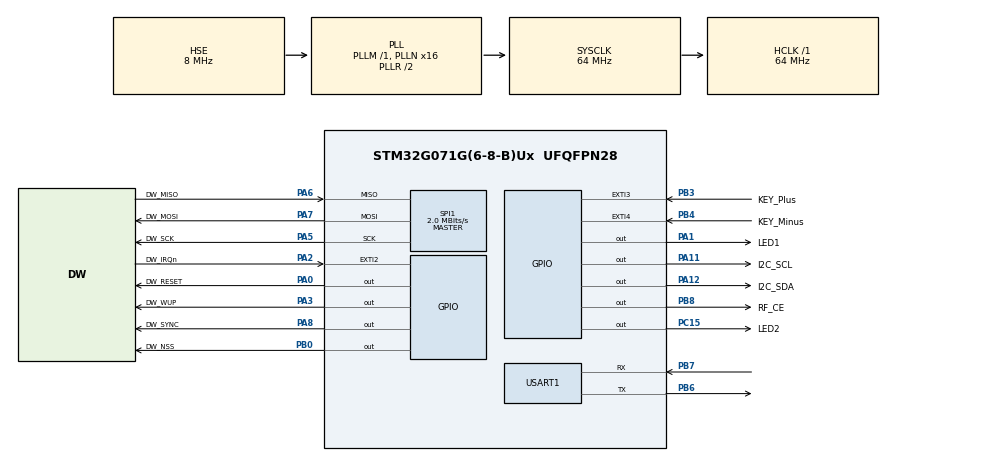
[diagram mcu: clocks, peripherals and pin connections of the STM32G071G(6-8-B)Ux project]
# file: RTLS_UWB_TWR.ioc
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Dma.Request0=USART1_RX
Dma.Request1=USART1_TX
Dma.USART1_RX.0.Direction=DMA_PERIPH_TO_MEMORY
Dma.USART1_RX.0.EventEnable=DISABLE
Dma.USART1_RX.0.Instance=DMA1_Channel6
Dma.USART1_RX.0.MemDataAlignment=DMA_MDATAALIGN_BYTE
Dma.USART1_RX.0.MemInc=DMA_MINC_ENABLE
Dma.USART1_RX.0.Mode=DMA_CIRCULAR
Dma.USART1_RX.0.PeriphDataAlignment=DMA_PDATAALIGN_BYTE
Dma.USART1_RX.0.PeriphInc=DMA_PINC_DISABLE
Dma.USART1_RX.0.Polarity=HAL_DMAMUX_REQ_GEN_RISING
Dma.USART1_RX.0.Priority=DMA_PRIORITY_LOW
Dma.USART1_RX.0.RequestNumber=1
Dma.USART1_RX.0.SignalID=NONE
Dma.USART1_RX.0.SyncEnable=DISABLE
Dma.USART1_RX.0.SyncPolarity=HAL_DMAMUX_SYNC_NO_EVENT
Dma.USART1_RX.0.SyncRequestNumber=1
Dma.USART1_RX.0.SyncSignalID=NONE
Dma.USART1_TX.1.Direction=DMA_MEMORY_TO_PERIPH
Dma.USART1_TX.1.EventEnable=DISABLE
Dma.USART1_TX.1.Instance=DMA1_Channel7
Dma.USART1_TX.1.MemDataAlignment=DMA_MDATAALIGN_BYTE
Dma.USART1_TX.1.MemInc=DMA_MINC_ENABLE
Dma.USART1_TX.1.Mode=DMA_NORMAL
Dma.USART1_TX.1.PeriphDataAlignment=DMA_PDATAALIGN_BYTE
Dma.USART1_TX.1.PeriphInc=DMA_PINC_DISABLE
Dma.USART1_TX.1.Polarity=HAL_DMAMUX_REQ_GEN_RISING
Dma.USART1_TX.1.Priority=DMA_PRIORITY_LOW
Dma.USART1_TX.1.RequestNumber=1
Dma.USART1_TX.1.SignalID=NONE
Dma.USART1_TX.1.SyncEnable=DISABLE
Dma.USART1_TX.1.SyncPolarity=HAL_DMAMUX_SYNC_NO_EVENT
Dma.USART1_TX.1.SyncRequestNumber=1
Dma.USART1_TX.1.SyncSignalID=NONE
IWDG.Prescaler=IWDG_PRESCALER_64
IWDG.Reload=2000
IWDG.Window=2000
Mcu.Family=STM32G0
Mcu.Name=STM32G071G(6-8-B)Ux
Mcu.Package=UFQFPN28
NVIC.DMA1_Ch4_7_DMAMUX1_OVR_IRQn=true\:0\:0\:false\:false\:true\:false\:true\:true
NVIC.EXTI2_3_IRQn=true\:0\:0\:false\:false\:true\:true\:true\:true
NVIC.EXTI4_15_IRQn=true\:0\:0\:false\:false\:true\:true\:true\:true
NVIC.TIM6_DAC_LPTIM1_IRQn=true\:0\:0\:false\:false\:true\:true\:true\:true
NVIC.USART1_IRQn=true\:3\:0\:true\:false\:true\:true\:true\:true
PA0.GPIO_Label=DW_RESET
PA0.Signal=GPIO_Output
PA1.GPIO_Label=LED1
PA1.PinState=GPIO_PIN_SET
PA1.Signal=GPIO_Output
PA11\ [PA9].GPIO_Label=I2C_SCL
PA11\ [PA9].GPIO_ModeDefaultOutputPP=GPIO_MODE_OUTPUT_OD
PA11\ [PA9].GPIO_PuPd=GPIO_NOPULL
PA11\ [PA9].GPIO_Speed=GPIO_SPEED_FREQ_MEDIUM
PA11\ [PA9].Signal=GPIO_Output
PA12\ [PA10].GPIO_Label=I2C_SDA
PA12\ [PA10].GPIO_ModeDefaultOutputPP=GPIO_MODE_OUTPUT_OD
PA12\ [PA10].GPIO_PuPd=GPIO_NOPULL
PA12\ [PA10].GPIO_Speed=GPIO_SPEED_FREQ_MEDIUM
PA12\ [PA10].Signal=GPIO_Output
PA13.Mode=Serial_Wire
PA13.Signal=SYS_SWDIO
PA14-BOOT0.Mode=Serial_Wire
PA14-BOOT0.Signal=SYS_SWCLK
PA2.GPIO_Label=DW_IRQn
PA2.GPIO_PuPd=GPIO_PULLDOWN
PA2.Signal=GPXTI2
PA3.GPIO_Label=DW_WUP
PA3.GPIO_PuPd=GPIO_PULLDOWN
PA3.Signal=GPIO_Output
PA5.GPIO_Label=DW_SCK
PA5.GPIO_Speed=GPIO_SPEED_FREQ_HIGH
PA5.Mode=Full_Duplex_Master
PA5.Signal=SPI1_SCK
PA6.GPIO_Label=DW_MISO
PA6.GPIO_Speed=GPIO_SPEED_FREQ_HIGH
PA6.Mode=Full_Duplex_Master
PA6.Signal=SPI1_MISO
PA7.GPIO_Label=DW_MOSI
PA7.GPIO_Speed=GPIO_SPEED_FREQ_HIGH
PA7.Mode=Full_Duplex_Master
PA7.Signal=SPI1_MOSI
PA8.GPIO_Label=DW_SYNC
PA8.GPIO_Speed=GPIO_SPEED_FREQ_HIGH
PA8.Signal=GPIO_Output
PB0.GPIO_Label=DW_NSS
PB0.GPIO_PuPd=GPIO_NOPULL
PB0.GPIO_Speed=GPIO_SPEED_FREQ_HIGH
PB0.Signal=GPIO_Output
PB3.GPIO_Label=KEY_Plus
PB3.GPIO_ModeDefaultEXTI=GPIO_MODE_IT_RISING_FALLING
PB3.GPIO_PuPd=GPIO_PULLUP
PB3.Signal=GPXTI3
PB4.GPIO_Label=KEY_Minus
PB4.GPIO_ModeDefaultEXTI=GPIO_MODE_IT_RISING_FALLING
PB4.GPIO_PuPd=GPIO_PULLUP
PB4.Signal=GPXTI4
PB6.Mode=Asynchronous
PB6.Signal=USART1_TX
PB7.Mode=Asynchronous
PB7.Signal=USART1_RX
PB8.GPIO_Label=RF_CE
PB8.PinState=GPIO_PIN_SET
PB8.Signal=GPIO_Output
PC14-OSC32_IN\ (PC14).Mode=HSE-External-Clock-Source
PC14-OSC32_IN\ (PC14).Signal=RCC_OSC_IN
PC15-OSC32_OUT\ (PC15).GPIO_Label=LED2
PC15-OSC32_OUT\ (PC15).PinState=GPIO_PIN_SET
PC15-OSC32_OUT\ (PC15).Signal=GPIO_Output
ProjectManager.HeapSize=0x400
ProjectManager.StackSize=0x400
ProjectManager.TargetToolchain=Makefile
RCC.ADCFreq_Value=64000000
RCC.AHBFreq_Value=64000000
RCC.CortexFreq_Value=64000000
RCC.EXTERNAL_CLOCK_VALUE=48000
RCC.HCLKFreq_Value=64000000
RCC.HSE_VALUE=8000000
RCC.HSI_VALUE=16000000
RCC.LSE_VALUE=32768
RCC.PLLN=16
RCC.PLLSourceVirtual=RCC_PLLSOURCE_HSE
RCC.SYSCLKFreq_VALUE=64000000
RCC.SYSCLKSource=RCC_SYSCLKSOURCE_PLLCLK
RCC.VCOOutputFreq_Value=128000000
SPI1.BaudRatePrescaler=SPI_BAUDRATEPRESCALER_32
SPI1.CalculateBaudRate=2.0 MBits/s
SPI1.Direction=SPI_DIRECTION_2LINES
SPI1.Mode=SPI_MODE_MASTER
SPI1.VirtualType=VM_MASTER
TIM6.Prescaler=64-1
TIM7.Prescaler=64-1
USART1.VirtualMode-Asynchronous=VM_ASYNC
VP_IWDG_VS_IWDG.Mode=IWDG_Activate
VP_SYS_VS_DBSignals.Mode=DisableDeadBatterySignals
VP_TIM6_VS_ClockSourceINT.Mode=Enable_Timer
VP_TIM7_VS_ClockSourceINT.Mode=Enable_Timer
board=custom

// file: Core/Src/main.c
/* USER CODE BEGIN Header */
/**
 ******************************************************************************
 * @file           : main.c
 * @brief          : Main program body
 ******************************************************************************
 * @attention
 *
 * Copyright (c) 2023 STMicroelectronics.
 * All rights reserved.
 *
 * This software is licensed under terms that can be found in the LICENSE file
 * in the root directory of this software component.
 * If no LICENSE file comes with this software, it is provided AS-IS.
 *
 ******************************************************************************
 */
/* USER CODE END Header */
#include "main.h"
#include "dma.h"
#include "iwdg.h"
#include "spi.h"
#include "tim.h"
#include "usart.h"
#include "gpio.h"

/* USER CODE BEGIN Includes */
#include "port.h"
#include "instance.h"
#if (OLED == 1)
#include "ssd1306.h"
#endif
#include "key.h"
#include "eeprom.h"
#include "syscall.h"
/* USER CODE END Includes */

/* USER CODE BEGIN PM */
#define SOFTWARE_VER_STRING "RTLS V1"
/* USER CODE END PM */

/* USER CODE BEGIN PV */
extern uint8_t UART_RX_BUF[1];
/* USER CODE END PV */

void SystemClock_Config(void);

int main(void)
{

  /* MCU Configuration--------------------------------------------------------*/

  /* Reset of all peripherals, Initializes the Flash interface and the Systick. */
  HAL_Init();

  /* Configure the system clock */
  SystemClock_Config();

  /* Initialize all configured peripherals */
  MX_GPIO_Init();
  MX_DMA_Init();
  MX_SPI1_Init();
  MX_TIM6_Init();
  MX_USART1_UART_Init();
  MX_TIM7_Init();
  MX_IWDG_Init();
  /* USER CODE BEGIN 2 */
  HAL_Delay(200);
  if (AT24CXX_Check())
  {
    Init_Param();
    AT24CXX_WriteOneByte(0x000, EEPROM_DATAFORMAT);
    HAL_Delay(10);
  }
  KEY_Config();
  SSD1306_Init();
  LCD_Title(SOFTWARE_VER_STRING);
  HAL_UART_Receive_DMA(&huart1, &UART_RX_BUF[0], 1); // 启动DMA接收
  /* USER CODE END 2 */

  /* Infinite loop */
  while (1)
  {

  }
}

void SystemClock_Config(void)
{
  RCC_OscInitTypeDef RCC_OscInitStruct = {0};
  RCC_ClkInitTypeDef RCC_ClkInitStruct = {0};

  /** Configure the main internal regulator output voltage
   */
  HAL_PWREx_ControlVoltageScaling(PWR_REGULATOR_VOLTAGE_SCALE1);

  /** Initializes the RCC Oscillators according to the specified parameters
   * in the RCC_OscInitTypeDef structure.
   */
  RCC_OscInitStruct.OscillatorType = RCC_OSCILLATORTYPE_LSI | RCC_OSCILLATORTYPE_HSE;
  RCC_OscInitStruct.HSEState = RCC_HSE_BYPASS;
  RCC_OscInitStruct.LSIState = RCC_LSI_ON;
  RCC_OscInitStruct.PLL.PLLState = RCC_PLL_ON;
  RCC_OscInitStruct.PLL.PLLSource = RCC_PLLSOURCE_HSE;
  RCC_OscInitStruct.PLL.PLLM = RCC_PLLM_DIV1;
  RCC_OscInitStruct.PLL.PLLN = 16;
  RCC_OscInitStruct.PLL.PLLP = RCC_PLLP_DIV2;
  RCC_OscInitStruct.PLL.PLLQ = RCC_PLLQ_DIV2;
  RCC_OscInitStruct.PLL.PLLR = RCC_PLLR_DIV2;
  if (HAL_RCC_OscConfig(&RCC_OscInitStruct) != HAL_OK)
  {
    Error_Handler();
  }

  /** Initializes the CPU, AHB and APB buses clocks
   */
  RCC_ClkInitStruct.ClockType = RCC_CLOCKTYPE_HCLK | RCC_CLOCKTYPE_SYSCLK | RCC_CLOCKTYPE_PCLK1;
  RCC_ClkInitStruct.SYSCLKSource = RCC_SYSCLKSOURCE_PLLCLK;
  RCC_ClkInitStruct.AHBCLKDivider = RCC_SYSCLK_DIV1;
  RCC_ClkInitStruct.APB1CLKDivider = RCC_HCLK_DIV1;

  if (HAL_RCC_ClockConfig(&RCC_ClkInitStruct, FLASH_LATENCY_2) != HAL_OK)
  {
    Error_Handler();
  }
}

void Error_Handler(void)
{
  __disable_irq();
  while (1)
  {
  }
}
